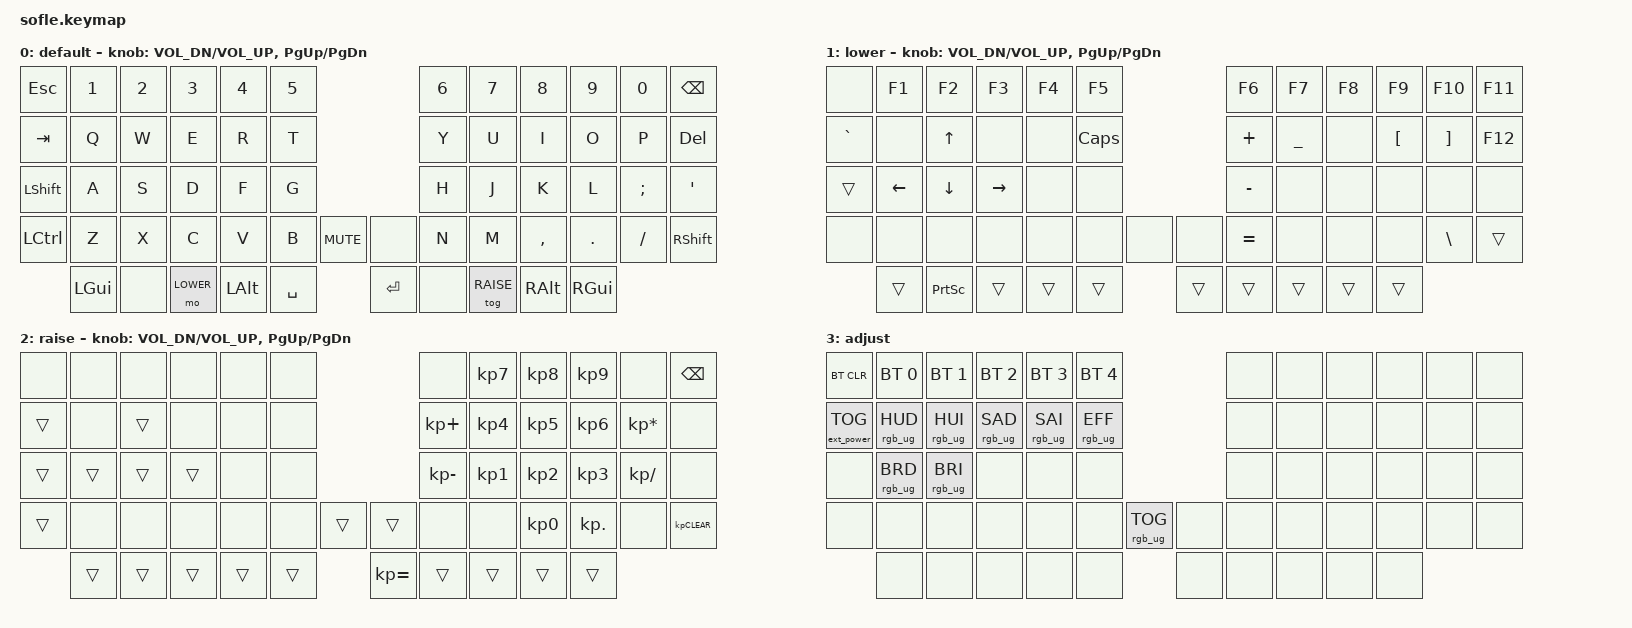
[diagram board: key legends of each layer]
/*
 * Copyright (c) 2020 The ZMK Contributors
 *
 * SPDX-License-Identifier: MIT
 */

#include <behaviors.dtsi>
#include <dt-bindings/zmk/keys.h>
#include <dt-bindings/zmk/bt.h>
#include <dt-bindings/zmk/rgb.h>
#include <dt-bindings/zmk/ext_power.h>

#define BASE 0
#define LOWER 1
#define RAISE 2
#define ADJUST 3

/ {

   // Activate ADJUST layer by pressing raise and lower
    conditional_layers {
        compatible = "zmk,conditional-layers";
        adjust_layer {
            if-layers = <LOWER RAISE>;
            then-layer = <ADJUST>;
        };
    };

    keymap {
        compatible = "zmk,keymap";

        default_layer {
            display-name = "default";
// ------------------------------------------------------------------------------------------------------------
// |  ESC  |  1  |  2  |  3   |  4   |  5   |                   |  6   |  7    |  8    |  9   |   0   | BSPC |
// |  TAB  |  Q  |  W  |  E   |  R   |  T   |                   |  Y   |  U    |  I    |  O   |   P   |  DEL |
// | LSHFT |  A  |  S  |  D   |  F   |  G   |                   |  H   |  J    |  K    |  L   |   ;   |   '  |
// | LCTRL |  Z  |  X  |  C   |  V   |  B   |  MUTE  |  |       |  N   |  M    |  ,    |  .   |   /   |RSHFT |
//               | GUI |      | LOWER | ALT |  SPACE |  | ENTER |      | RAISE | ALT   | GUI  |
            bindings = <
&kp ESC    &kp N1  &kp N2  &kp N3  &kp N4  &kp N5                       &kp N6  &kp N7  &kp N8    &kp N9   &kp N0   &kp BSPC
&kp TAB    &kp Q   &kp W   &kp E   &kp R   &kp T                        &kp Y   &kp U   &kp I     &kp O    &kp P    &kp DEL
&kp LSHFT  &kp A   &kp S   &kp D   &kp F   &kp G                        &kp H   &kp J   &kp K     &kp L    &kp SEMI &kp SQT
&kp LCTRL  &kp Z   &kp X   &kp C   &kp V   &kp B   &kp C_MUTE  &none    &kp N   &kp M   &kp COMMA &kp DOT  &kp FSLH &kp RSHFT
             &kp LGUI  &none  &mo LOWER  &kp LALT  &kp SPACE   &kp RET  &none  &tog RAISE  &kp RALT  &kp RGUI
            >;

            sensor-bindings = <&inc_dec_kp C_VOL_DN C_VOL_UP &inc_dec_kp PG_UP PG_DN>;
        };

        lower_layer {
            display-name = "lower";
// TODO: Some binds are waiting for shifted keycode support.
// ------------------------------------------------------------------------------------------------------------
// |       |  F1 |  F2 |  F3  |  F4  |  F5  |                   |  F6  |  F7   |  F8   |  F9  |  F10  |  F11  |
// |   `   |     |  UP |      |      |CPSLCK|                   | PLUS | UNDER |       | LBKT |  RBKT |  F12  |
// | LSHFT | LEFT| DOWN| RIGHT|      |      |                   | MINUS|       |       |      |       |       |
// |       |     |     |      |      |      |        |  |       | EQUAL|       |       |      |  BSLH |       |
//               |     | PSCRN|      |      |        |  |       |      |       |       |      |
            bindings = <
&none     &kp F1    &kp F2    &kp F3    &kp F4  &kp F5                 &kp F6    &kp F7     &kp F8  &kp F9   &kp F10   &kp F11
&kp GRAVE &none     &kp UP    &none     &none   &kp CAPS               &kp PLUS  &kp UNDER  &none   &kp LBKT &kp RBKT  &kp F12
&trans    &kp LEFT  &kp DOWN  &kp RIGHT &none   &none                  &kp MINUS &none      &none   &none    &none     &none
&none     &none     &none     &none     &none   &none   &none  &none   &kp EQUAL     &none      &none   &none    &kp BSLH     &trans
            &trans    &kp PSCRN      &trans    &trans   &trans &trans  &trans    &trans   &trans    &trans
            >;

            sensor-bindings = <&inc_dec_kp C_VOL_DN C_VOL_UP &inc_dec_kp PG_UP PG_DN>;
        };

        raise_layer {
            display-name = "raise";
// ------------------------------------------------------------------------------------------------------------
// |       |      |      |       |       |      |                |      |  7   |   8   |  9   |       | BSPC  |
// |   `   |      |  UP  |       |       |      |                | PLUS |  4   |   5   |   6  | MLTPL |       |
// |       | LEFT | DOWN | RIGHT |       |      |                |SBTRCT|  1   |   2   |   3  | DIVIDE|       |
// |       |      |      |       |       |      |      |  |      |      |      |   0   |  DOT |       | CLEAR |
//                |      |       |       |      |      |  |EQUAL |      |      |       |      |
            bindings = <
&none     &none    &none   &none   &none   &none                    &none           &kp KP_N7  &kp KP_N8  &kp KP_N9   &none            &kp BSPC
&trans    &none    &trans  &none   &none   &none                    &kp KP_PLUS     &kp KP_N4  &kp KP_N5  &kp KP_N6   &kp KP_MULTIPLY  &none
&trans    &trans   &trans  &trans  &none   &none                    &kp KP_SUBTRACT &kp KP_N1  &kp KP_N2  &kp KP_N3   &kp KP_DIVIDE    &none
&trans    &none    &none   &none   &none   &none    &trans  &trans  &none           &none      &kp KP_N0  &kp KP_DOT  &none            &kp KP_CLEAR
           &trans    &trans     &trans     &trans    &trans &kp KP_EQUAL         &trans    &trans    &trans   &trans
            >;

            sensor-bindings = <&inc_dec_kp C_VOL_DN C_VOL_UP &inc_dec_kp PG_UP PG_DN>;
        };

        adjust_layer {
// ----------------------------------------------------------------------------------------------------------------------------
// | BTCLR  |  BT1    |  BT2    |   BT3   |   BT4   |   BT5   |                  |      |      |       |      |       |       |
// | EXTPWR | RGB_HUD | RGB_HUI | RGB_SAD | RGB_SAI | RGB_EFF |                  |      |      |       |      |       |       |
// |        | RGB_BRD | RGB_BRI |         |         |         |                  |      |      |       |      |       |       |
// |        |         |         |         |         |         | RGB_TOG | |      |      |      |       |      |       |       |
//                    |         |         |         |         |         | |      |      |      |       |      |
            display-name = "adjust";
            bindings = <
&bt BT_CLR        &bt BT_SEL 0    &bt BT_SEL 1    &bt BT_SEL 2    &bt BT_SEL 3    &bt BT_SEL 4                            &none &none &none &none &none &none
&ext_power EP_TOG &rgb_ug RGB_HUD &rgb_ug RGB_HUI &rgb_ug RGB_SAD &rgb_ug RGB_SAI &rgb_ug RGB_EFF                         &none &none &none &none &none &none
&none             &rgb_ug RGB_BRD &rgb_ug RGB_BRI &none           &none           &none                                   &none &none &none &none &none &none
&none             &none           &none           &none           &none           &none            &rgb_ug RGB_TOG &none  &none &none &none &none &none &none
                                  &none           &none           &none           &none            &none           &none  &none &none &none &none
            >;
        };

    };
};
